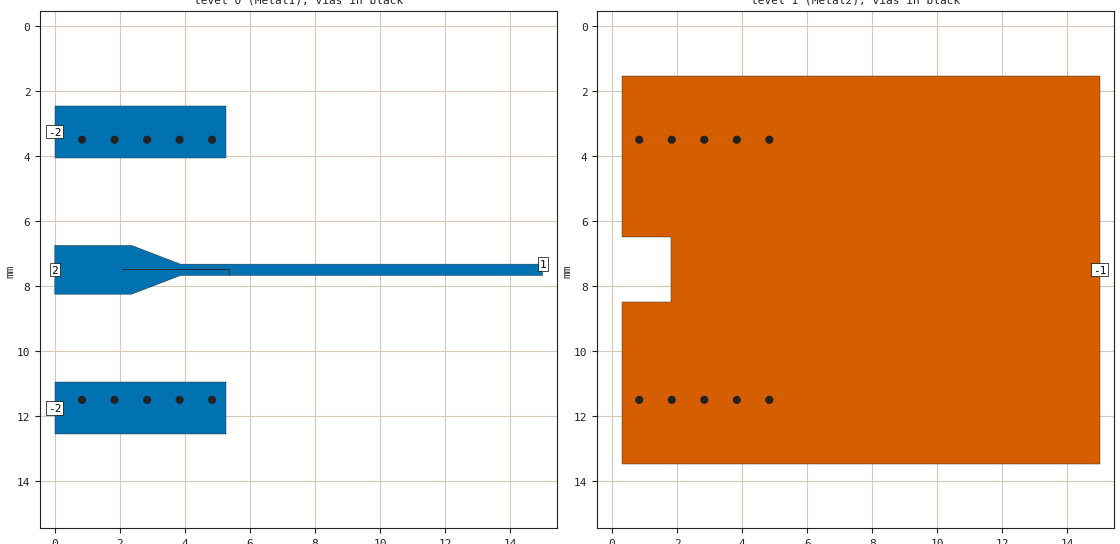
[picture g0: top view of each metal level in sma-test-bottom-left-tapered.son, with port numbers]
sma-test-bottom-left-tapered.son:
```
FTYP SONPROJ 18 ! Sonnet Project File
VER 17.56
HEADER
LIC antikernel2.1.50170 ac1f6b6437c5 havequick azonenberg Level3Gold
DAT 04/06/2021 09:38:50
BUILT_BY_CREATED dxf 17.52.2 05/01/2020 05:35:06
BUILT_BY_SAVED sonnet 17.56
MDATE 04/06/2021 09:38:26
HDATE 04/06/2021 09:38:26
ANN Created by dxfgeo, Sonnet Software Inc.
END HEADER
DIM
ANG DEG
CAP PF
CON /OH
FREQ GHZ
IND NH
LNG MM
RES OH
END DIM
CONTROL
VARSWP
OPTIONS  -dj
SPEED 1
CACHE_ABS 1
Q_ACC N
END CONTROL
GEO
SYM
TMET "Free Space" 0 FREESPACE 376.7303136 0 0 0
BMET "Free Space" 0 FREESPACE 376.7303136 0 0 0
MET "Copper 1oz thick" 2 TMM 58000000 0.5 0.035 2
MET "Nickel " 3 TMM 14300000 0.5 3.5e-05 2
MET "Copper 0.5oz" 1 NOR 58000000 0.5 0.0175 
MET "Unknown_metal" 1 NOR INF 0.5 0 
MET "Unknown_metal" 1 VOL INF 0
BRI "Alumina (96%)" 0 9.4 0.0004 0 
BRI "Alumina (99.5%)" 0 9.9 0.0001 0 
BRI "Aluminum Nitride" 0 8.6 0.0003 0 
BRI "Arlon 25FR" 0 3.58 0.0035 0 
BRI "Arlon 25N" 0 3.38 0.0025 0 
BRI "Arlon AD5" 0 5.1 0.003 0 
BRI "Arlon AD10" 0 10.2 0.005 0 
BRI "Arlon AD250" 0 2.5 0.0018 0 
BRI "Arlon AD255A" 0 2.55 0.0015 0 
BRI "Arlon AD260A" 0 2.6 0.0018 0 
BRI "Arlon AD270" 0 2.7 0.0023 0 
BRI "Arlon AD300A" 0 3 0.002 0 
BRI "Arlon AD320A" 0 3.2 0.0032 0 
BRI "Arlon AD350A" 0 3.5 0.003 0 
BRI "Arlon AD410" 0 4.1 0.003 0 
BRI "Arlon AD430" 0 4.3 0.003 0 
BRI "Arlon AD450" 0 4.5 0.0035 0 
BRI "Arlon AD600" 0 6.15 0.003 0 
BRI "Arlon AD1000" 0 10.2 0.0023 0 
BRI "Arlon AR1000" 0 9.8 0.003 0 
BRI "Arlon CLTE" 0 2.96 0.0023 0 
BRI "Arlon CLTE-AT" 0 3 0.0013 0 
BRI "Arlon CLTE-P" 0 2.94 0.0025 0 
BRI "Arlon CLTE-XT" 0 2.94 0.0012 0 
BRI "Arlon Cu 217LX" 0 2.17 0.0009 0 
BRI "Arlon Cu 233LX" 0 2.33 0.0013 0 
BRI "Arlon Cu 250GT" 0 2.5 0.001 0 
BRI "Arlon Cu 250GX" 0 2.5 0.0018 0 
BRI "Arlon Cu 6250" 0 2.32 0.0013 0 
BRI "Arlon Cu 6700" 0 2.35 0.0025 0 
BRI "Arlon Di 522" 0 2.5 0.001 0 
BRI "Arlon Di 527" 0 2.5 0.0018 0 
BRI "Arlon Di 870" 0 2.33 0.0013 0 
BRI "Arlon Di 880" 0 2.17 0.0009 0 
BRI "Arlon Iso 917" 0 2.17 0.0013 0 
BRI "Arlon Iso 933" 0 2.33 0.0016 0 
BRI "Arlon Multi HF" 0 3.7 0.004 0 
BRI "Arlon TC350" 0 3.5 0.002 0 
BRI "Arlon TC600" 0 6.15 0.002 0 
BRI "Beryllia (99.5%)" 0 6.5 0.0004 0 
BRI "CEM-1" 0 4.5 0.02 0 
BRI "CEM-3" 0 4.5 0.02 0 
BRI "Dupont 9K7" 0 7.1 0.0012 0 
BRI "Dupont 943" 0 7.4 0.002 0 
BRI "Dupont 951" 0 7.8 0.006 0 
BRI "Dupont FEP" 0 2 0.0005 0 
BRI "Dupont Vacrel" 0 3.8 0.011 0 
BRI "ESL 41010" 0 7.5 0.005 0 
BRI "ESL 41020" 0 7.25 0.005 0 
BRI "ESL 41050" 0 13.5 0.002 0 
BRI "ESL 41060" 0 16.5 0.002 0 
BRI "ESL 41110" 0 4.5 0.004 0 
BRI "Ferro A6M" 0 5.9 0.002 0 
BRI "Ferro A6S" 0 5.9 0.002 0 
BRI "Ferro L8" 0 7.3 0.0018 0 
BRI "FR-4" 0 4.4 0.02 0 
BRI "G-10" 0 4.8 0.025 0 
BRI "Gallium Arsenide" 0 12.9 0.006 0 
BRI "Gallium Nitride" 0 9.7 0 0 
BRI "Glass (Pyrex)" 0 4.82 0.0054 0 
BRI "Heraeus HL2000" 0 7.3 0.0026 0 
BRI "Isola 370HR" 0 4.04 0.021 0 
BRI "Isola FR408" 0 3.77 0.0116 0 
BRI "Isola FR408HR" 0 3.68 0.0092 0 
BRI "Isola Getek" 0 3.6 0.01 0 
BRI "Isola GI-180" 0 3.7 0.013 0 
BRI "Isola IS415" 0 3.82 0.0125 0 
BRI "Isola IS620i" 0 3.58 0.006 0 
BRI "Isola IS680-280" 0 2.8 0.0025 0 
BRI "Isola IS680-300" 0 3 0.003 0 
BRI "Isola IS680-320" 0 3.2 0.003 0 
BRI "Isola IS680-333" 0 3.33 0.003 0 
BRI "Isola IS680-338" 0 3.38 0.0032 0 
BRI "Isola IS680-345" 0 3.45 0.0036 0 
BRI "Kerafol CT800" 0 5.3 0.008 0 
BRI "Nelco MW9350" 0 3.7 0.004 0 
BRI "Nelco N4000-12" 0 3.7 0.008 0 
BRI "Nelco N4000-13" 0 3.7 0.009 0 
BRI "Nelco N4000-13SI" 0 3.2 0.007 0 
BRI "Nelco N4000-13EP" 0 3.7 0.008 0 
BRI "Nelco N4350-13RF" 0 3.5 0.0065 0 
BRI "Nelco N4380-13RF" 0 3.8 0.007 0 
BRI "Nelco N9300-13RF" 0 3 0.004 0 
BRI "Nelco N9320-13RF" 0 3.2 0.0045 0 
BRI "Nelco N9338-13RF" 0 3.38 0.0046 0 
BRI "Nelco N9350-13RF" 0 3.48 0.0055 0 
BRI "Nelco NH9294" 0 2.94 0.0022 0 
BRI "Nelco NH9300" 0 3 0.0023 0 
BRI "Nelco NH9320" 0 3.2 0.0024 0 
BRI "Nelco NH9338" 0 3.38 0.0025 0 
BRI "Nelco NH9348" 0 3.48 0.003 0 
BRI "Nelco NH9350" 0 3.5 0.003 0 
BRI "Nelco NH9410" 0 4.1 0.003 0 
BRI "Nelco NH9450" 0 4.5 0.003 0 
BRI "Nelco NX9240" 0 2.4 0.0016 0 
BRI "Nelco NX9245" 0 2.45 0.0016 0 
BRI "Nelco NX9250" 0 2.5 0.0017 0 
BRI "Nelco NX9255" 0 2.55 0.0018 0 
BRI "Nelco NX9260" 0 2.6 0.0019 0 
BRI "Nelco NY9208" 0 2.08 0.0006 0 
BRI "Nelco NY9217" 0 2.17 0.0008 0 
BRI "Nelco NY9220" 0 2.2 0.0009 0 
BRI "Nelco NY9233" 0 2.33 0.0011 0 
BRI "PET" 0 3.37 0.0208 0 
BRI "Polyimide" 0 3.5 0.003 0 
BRI "Quartz (Fused)" 0 3.78 0.0001 0 
BRI "Rogers 3001" 0 2.28 0.003 0 
BRI "Rogers RO2808" 0 7.6 0.0015 0 
BRI "Rogers RO3003" 0 3 0.0013 0 
BRI "Rogers RO3006" 0 6.5 0.002 0 
BRI "Rogers RO3010" 0 11.2 0.0022 0 
BRI "Rogers RO3035" 0 3.6 0.0018 0 
BRI "Rogers RO3203" 0 3.02 0.0016 0 
BRI "Rogers RO3206" 0 6.6 0.0027 0 
BRI "Rogers RO3210" 0 10.8 0.0027 0 
BRI "Rogers RO3730" 0 3 0.0016 0 
BRI "Rogers RO4003C" 0 3.55 0.0029 0 
BRI "Rogers RO4533" 0 3.45 0.0029 0 
BRI "Rogers RO4534" 0 3.4 0.003 0 
BRI "Rogers RO4350B" 0 3.66 0.0037 0 
BRI "Rogers RO4350BTX" 0 3.66 0.0034 0 
BRI "Rogers RO4360" 0 6.15 0.0038 0 
BRI "Rogers RO4450B-3.6" 0 3.3 0.0043 0 
BRI "Rogers RO4450B-4" 0 3.54 0.004 0 
BRI "Rogers RO4450F" 0 3.52 0.0041 0 
BRI "Rogers RO4730" 0 3 0.0033 0 
BRI "Rogers RT5870" 0 2.33 0.0012 0 
BRI "Rogers RT5880" 0 2.2 0.0009 0 
BRI "Rogers RT5880LZ" 0 1.96 0.0019 0 
BRI "Rogers RT6002" 0 2.94 0.0012 0 
BRI "Rogers RT6006" 0 6.15 0.0027 0 
BRI "Rogers RT6010LM" 0 10.9 0.0023 0 
BRI "Rogers RT6035HTC" 0 3.6 0.0013 0 
BRI "Rogers RT6202" 0 2.94 0.0015 0 
BRI "Rogers RT6202PR" 0 2.95 0.0015 0 
BRI "Rogers Syron7000" 0 3.4 0.0045 0 
BRI "Rogers Syron7100-2" 0 3.61 0.006 0 
BRI "Rogers Syron7100-4" 0 3.39 0.005 0 
BRI "Rogers Theta" 0 4.01 0.0118 0 
BRI "Rogers TMM 3" 0 3.39 0.002 0 
BRI "Rogers TMM 4" 0 4.5 0.002 0 
BRI "Rogers TMM 6" 0 6 0.0023 0 
BRI "Rogers TMM 10" 0 9.56 0.0022 0 
BRI "Rogers TMM 10i" 0 9.96 0.002 0 
BRI "Rogers UL2000" 0 2.5 0.0019 0 
BRI "Rogers UL3850" 0 3.05 0.0025 0 
BRI "Rogers UL3908" 0 2.9 0.0025 0 
BRI "Rogers XT8000" 0 3.34 0.0035 0 
BRI "Rogers XT8100-2" 0 3.54 0.0049 0 
BRI "Rogers XT8100-4" 0 3.32 0.0038 0 
BRI "Silicon (intrinsic)" 0 11.9 0.004 0.00044 
BRI "Silicon Dioxide" 0 3.9 0 0 
BRI "Silicon Nitride" 0 7.5 0 0 
BRI "Taconic CER-10" 0 10 0.0035 0 
BRI "Taconic FastFilm" 0 2.7 0.0012 0 
BRI "Taconic Fastrise-DS" 0 2.96 0.0018 0 
BRI "Taconic Fastrise27" 0 2.7 0.0014 0 
BRI "Taconic Fastrise77" 0 7.7 0.0034 0 
BRI "Taconic FEP" 0 2 0.0003 0 
BRI "Taconic RF-30" 0 3 0.0014 0 
BRI "Taconic RF-35" 0 3.5 0.0018 0 
BRI "Taconic RF-35A2" 0 3.5 0.0011 0 
BRI "Taconic RF-35P" 0 3.5 0.0025 0 
BRI "Taconic RF-41" 0 4.1 0.0038 0 
BRI "Taconic RF-43" 0 4.3 0.0033 0 
BRI "Taconic RF-45" 0 4.5 0.0037 0 
BRI "Taconic RF-60A" 0 6.15 0.0038 0 
BRI "Taconic RF-301" 0 2.97 0.0012 0 
BRI "Taconic TacBond HT" 0 2.35 0.0025 0 
BRI "Taconic TLA-6" 0 2.62 0.0012 0 
BRI "Taconic TLC-27" 0 2.75 0.003 0 
BRI "Taconic TLC-30" 0 3 0.003 0 
BRI "Taconic TLC-32" 0 3.2 0.003 0 
BRI "Taconic TLE-95" 0 2.95 0.0028 0 
BRI "Taconic TLF-34" 0 3.4 0.002 0 
BRI "Taconic TLF-35" 0 3.5 0.002 0 
BRI "Taconic TLP-3" 0 2.33 0.0009 0 
BRI "Taconic TLP-5" 0 2.2 0.0009 0 
BRI "Taconic TLP-5A" 0 2.17 0.0009 0 
BRI "Taconic TLT-0" 0 2.45 0.0006 0 
BRI "Taconic TLT-9" 0 2.5 0.0006 0 
BRI "Taconic TLT-8" 0 2.55 0.0006 0 
BRI "Taconic TLT-7" 0 2.6 0.0006 0 
BRI "Taconic TLT-6" 0 2.65 0.0006 0 
BRI "Taconic TLX-0" 0 2.45 0.0019 0 
BRI "Taconic TLX-9" 0 2.5 0.0019 0 
BRI "Taconic TLX-8" 0 2.55 0.0019 0 
BRI "Taconic TLX-7" 0 2.6 0.0019 0 
BRI "Taconic TLX-6" 0 2.65 0.0019 0 
BRI "Taconic TLY-3" 0 2.33 0.0009 0 
BRI "Taconic TLY-3F" 0 2.33 0.0009 0 
BRI "Taconic TLY-5" 0 2.2 0.0009 0 
BRI "Taconic TLY-5-L" 0 2.2 0.0009 0 
BRI "Taconic TLY-5A" 0 2.17 0.0009 0 
BRI "Taconic TLY-5A-L" 0 2.17 0.0009 0 
BRI "Taconic TPG-30" 0 3 0.0038 0 
BRI "Taconic TPG-32" 0 3.2 0.005 0 
BRI "Taconic TPG-35" 0 3.5 0.005 0 
BRI "Taconic TRF-41" 0 4.1 0.0035 0 
BRI "Taconic TRF-43" 0 4.3 0.0035 0 
BRI "Taconic TRF-45" 0 4.5 0.0035 0 
BRI "Taconic TSM-DS" 0 2.85 0.001 0 
BRI "Taconic TSM-DS3" 0 3 0.0011 0 
BRI "Taconic TSM-26" 0 2.6 0.0014 0 
BRI "Taconic TSM-29" 0 2.94 0.0013 0 
BRI "Taconic TSM-30" 0 3 0.0013 0 
BRI "Teflon (PTFE)" 0 2.08 0.0004 0 
BOX 3 15 15 1200 1200 20 0
      1 1 1 0 0 0 0 "Air"
      0.166 3.6 1 0.0092 0 0 0 "Isola FR408HR"
      1.4 3.6 1 0.0092 0 0 0 "Isola FR408HR"
      1 1 1 0 0 0 0 "Air"
TECHLAY METAL Metal1 BLACK -2 0 
0 0 0 N 923 1 1 100 100 0 0 0 Y
END
END
TECHLAY METAL Metal2 BLACK -3 0 
1 0 2 N 930 1 1 100 100 0 0 0 Y
END
END
TECHLAY VIA Via1 <UNSPECIFIED> -4 0 
VIA POLYGON
1 0 -1 N 1037 1 1 100 100 0 0 0 Y
TOLEVEL 0 RING NOCOVERS
END
END
VALVAR BOTLEN LNG 2 "Dim. Param."
VALVAR TOPLEN LNG 3 "Dim. Param."
VALVAR CUTY LNG 2 "Dim. Param."
VALVAR CUTX LNG 1.5 "Dim. Param."
LORGN 0 15 U 
POR1 BOX
POLY 4 1
0
-2 50 0 0 0 0 3.25 
POR1 BOX
POLY 1 1
0
-2 50 0 0 0 0 11.75 
POR1 BOX
POLY 1031 1
10
1 50 0 0 0 15 7.325 
POR1 BOX
POLY 1031 1
16
2 50 0 0 0 1.110223025e-16 7.5 
POR1 BOX
POLY 702 1
7
-1 50 0 0 0 15 7.5 
NUM 14
0 5 0 N 4 1 1 100 100 0 0 0 Y
TLAYNAM Metal1 INH
0 4.05
0 2.45
5.2625 2.45
5.2625 4.05
0 4.05
END
0 5 0 N 1 1 1 100 100 0 0 0 Y
TLAYNAM Metal1 INH
0 12.55
0 10.95
5.2625 10.95
5.2625 12.55
0 12.55
END
0 20 0 N 1031 1 1 100 100 0 0 0 Y
TLAYNAM Metal1 INH
3.8625 7.675
5.375 7.675
5.375 7.5
2.075 7.5
2.075 7.5
5.375 7.5
5.375 7.5
5.375 7.675
15 7.675
15 7.325
15 7.325
15 7.325
3.8625 7.325
2.3625 6.75
0 6.75
0 6.75
1.110223025e-16 6.75
1.110223025e-16 8.25
2.3625 8.25
3.8625 7.675
END
1 9 2 N 702 1 1 100 100 0 0 0 Y
TLAYNAM Metal2 INH
15 1.525
0.3125 1.525
0.3125 6.5
1.8125 6.5
1.8125 8.5
0.3125 8.5
0.3125 13.475
15 13.475
15 1.525
END
VIA POLYGON
1 53 -1 N 184 1 1 100 100 0 0 0 Y
TOLEVEL 0 RING NOCOVERS
TLAYNAM Via1 INH
1.8375 11.625
1.8135 11.623
1.8015 11.62
1.7895 11.615
1.7785 11.61
1.7685 11.604
1.7585 11.597
1.7405 11.579
1.7335 11.569
1.7275 11.559
1.7225 11.548
1.7175 11.536
1.7145 11.524
1.7125 11.5
1.7145 11.476
1.7175 11.464
1.7225 11.452
1.7275 11.441
1.7335 11.431
1.7405 11.421
1.7585 11.403
1.7685 11.396
1.7785 11.39
1.7895 11.385
1.8015 11.38
1.8135 11.377
1.8375 11.375
1.8615 11.377
1.8735 11.38
1.8855 11.385
1.8965 11.39
1.9065 11.396
1.9165 11.403
1.9345 11.421
1.9415 11.431
1.9475 11.441
1.9525 11.452
1.9575 11.464
1.9605 11.476
1.9625 11.5
1.9605 11.524
1.9575 11.536
1.9525 11.548
1.9475 11.559
1.9415 11.569
1.9345 11.579
1.9165 11.597
1.9065 11.604
1.8965 11.61
1.8855 11.615
1.8735 11.62
1.8615 11.623
1.8375 11.625
END
VIA POLYGON
1 53 -1 N 177 1 1 100 100 0 0 0 Y
TOLEVEL 0 RING NOCOVERS
TLAYNAM Via1 INH
4.8375 11.625
4.8135 11.623
4.8015 11.62
4.7895 11.615
4.7785 11.61
4.7685 11.604
4.7585 11.597
4.7405 11.579
4.7335 11.569
4.7275 11.559
4.7225 11.548
4.7175 11.536
4.7145 11.524
4.7125 11.5
4.7145 11.476
4.7175 11.464
4.7225 11.452
4.7275 11.441
4.7335 11.431
4.7405 11.421
4.7585 11.403
4.7685 11.396
4.7785 11.39
4.7895 11.385
4.8015 11.38
4.8135 11.377
4.8375 11.375
4.8615 11.377
4.8735 11.38
4.8855 11.385
4.8965 11.39
4.9065 11.396
4.9165 11.403
4.9345 11.421
4.9415 11.431
4.9475 11.441
4.9525 11.452
4.9575 11.464
4.9605 11.476
4.9625 11.5
4.9605 11.524
4.9575 11.536
4.9525 11.548
4.9475 11.559
4.9415 11.569
4.9345 11.579
4.9165 11.597
4.9065 11.604
4.8965 11.61
4.8855 11.615
4.8735 11.62
4.8615 11.623
4.8375 11.625
END
VIA POLYGON
1 53 -1 N 186 1 1 100 100 0 0 0 Y
TOLEVEL 0 RING NOCOVERS
TLAYNAM Via1 INH
3.8375 11.625
3.8135 11.623
3.8015 11.62
3.7895 11.615
3.7785 11.61
3.7685 11.604
3.7585 11.597
3.7405 11.579
3.7335 11.569
3.7275 11.559
3.7225 11.548
3.7175 11.536
3.7145 11.524
3.7125 11.5
3.7145 11.476
3.7175 11.464
3.7225 11.452
3.7275 11.441
3.7335 11.431
3.7405 11.421
3.7585 11.403
3.7685 11.396
3.7785 11.39
3.7895 11.385
3.8015 11.38
3.8135 11.377
3.8375 11.375
3.8615 11.377
3.8735 11.38
3.8855 11.385
3.8965 11.39
3.9065 11.396
3.9165 11.403
3.9345 11.421
3.9415 11.431
3.9475 11.441
3.9525 11.452
3.9575 11.464
3.9605 11.476
3.9625 11.5
3.9605 11.524
3.9575 11.536
3.9525 11.548
3.9475 11.559
3.9415 11.569
3.9345 11.579
3.9165 11.597
3.9065 11.604
3.8965 11.61
3.8855 11.615
3.8735 11.62
3.8615 11.623
3.8375 11.625
END
VIA POLYGON
1 53 -1 N 182 1 1 100 100 0 0 0 Y
TOLEVEL 0 RING NOCOVERS
TLAYNAM Via1 INH
4.8375 3.625
4.8135 3.623
4.8015 3.62
4.7895 3.615
4.7785 3.61
4.7685 3.604
4.7585 3.597
4.7405 3.579
4.7335 3.569
4.7275 3.559
4.7225 3.548
4.7175 3.536
4.7145 3.524
4.7125 3.5
4.7145 3.476
4.7175 3.464
4.7225 3.452
4.7275 3.441
4.7335 3.431
4.7405 3.421
4.7585 3.403
4.7685 3.396
4.7785 3.39
4.7895 3.385
4.8015 3.38
4.8135 3.377
4.8375 3.375
4.8615 3.377
4.8735 3.38
4.8855 3.385
4.8965 3.39
4.9065 3.396
4.9165 3.403
4.9345 3.421
4.9415 3.431
4.9475 3.441
4.9525 3.452
4.9575 3.464
4.9605 3.476
4.9625 3.5
4.9605 3.524
4.9575 3.536
4.9525 3.548
4.9475 3.559
4.9415 3.569
4.9345 3.579
4.9165 3.597
4.9065 3.604
4.8965 3.61
4.8855 3.615
4.8735 3.62
4.8615 3.623
4.8375 3.625
END
VIA POLYGON
1 53 -1 N 180 1 1 100 100 0 0 0 Y
TOLEVEL 0 RING NOCOVERS
TLAYNAM Via1 INH
2.8375 3.625
2.8135 3.623
2.8015 3.62
2.7895 3.615
2.7785 3.61
2.7685 3.604
2.7585 3.597
2.7405 3.579
2.7335 3.569
2.7275 3.559
2.7225 3.548
2.7175 3.536
2.7145 3.524
2.7125 3.5
2.7145 3.476
2.7175 3.464
2.7225 3.452
2.7275 3.441
2.7335 3.431
2.7405 3.421
2.7585 3.403
2.7685 3.396
2.7785 3.39
2.7895 3.385
2.8015 3.38
2.8135 3.377
2.8375 3.375
2.8615 3.377
2.8735 3.38
2.8855 3.385
2.8965 3.39
2.9065 3.396
2.9165 3.403
2.9345 3.421
2.9415 3.431
2.9475 3.441
2.9525 3.452
2.9575 3.464
2.9605 3.476
2.9625 3.5
2.9605 3.524
2.9575 3.536
2.9525 3.548
2.9475 3.559
2.9415 3.569
2.9345 3.579
2.9165 3.597
2.9065 3.604
2.8965 3.61
2.8855 3.615
2.8735 3.62
2.8615 3.623
2.8375 3.625
END
VIA POLYGON
1 53 -1 N 185 1 1 100 100 0 0 0 Y
TOLEVEL 0 RING NOCOVERS
TLAYNAM Via1 INH
2.8375 11.625
2.8135 11.623
2.8015 11.62
2.7895 11.615
2.7785 11.61
2.7685 11.604
2.7585 11.597
2.7405 11.579
2.7335 11.569
2.7275 11.559
2.7225 11.548
2.7175 11.536
2.7145 11.524
2.7125 11.5
2.7145 11.476
2.7175 11.464
2.7225 11.452
2.7275 11.441
2.7335 11.431
2.7405 11.421
2.7585 11.403
2.7685 11.396
2.7785 11.39
2.7895 11.385
2.8015 11.38
2.8135 11.377
2.8375 11.375
2.8615 11.377
2.8735 11.38
2.8855 11.385
2.8965 11.39
2.9065 11.396
2.9165 11.403
2.9345 11.421
2.9415 11.431
2.9475 11.441
2.9525 11.452
2.9575 11.464
2.9605 11.476
2.9625 11.5
2.9605 11.524
2.9575 11.536
2.9525 11.548
2.9475 11.559
2.9415 11.569
2.9345 11.579
2.9165 11.597
2.9065 11.604
2.8965 11.61
2.8855 11.615
2.8735 11.62
2.8615 11.623
2.8375 11.625
END
VIA POLYGON
1 53 -1 N 178 1 1 100 100 0 0 0 Y
TOLEVEL 0 RING NOCOVERS
TLAYNAM Via1 INH
0.8375 3.625
0.8135 3.623
0.8015 3.62
0.7895 3.615
0.7785 3.61
0.7685 3.604
0.7585 3.597
0.7405 3.579
0.7335 3.569
0.7275 3.559
0.7225 3.548
0.7175 3.536
0.7145 3.524
0.7125 3.5
0.7145 3.476
0.7175 3.464
0.7225 3.452
0.7275 3.441
0.7335 3.431
0.7405 3.421
0.7585 3.403
0.7685 3.396
0.7785 3.39
0.7895 3.385
0.8015 3.38
0.8135 3.377
0.8375 3.375
0.8615 3.377
0.8735 3.38
0.8855 3.385
0.8965 3.39
0.9065 3.396
0.9165 3.403
0.9345 3.421
0.9415 3.431
0.9475 3.441
0.9525 3.452
0.9575 3.464
0.9605 3.476
0.9625 3.5
0.9605 3.524
0.9575 3.536
0.9525 3.548
0.9475 3.559
0.9415 3.569
0.9345 3.579
0.9165 3.597
0.9065 3.604
0.8965 3.61
0.8855 3.615
0.8735 3.62
0.8615 3.623
0.8375 3.625
END
VIA POLYGON
1 53 -1 N 181 1 1 100 100 0 0 0 Y
TOLEVEL 0 RING NOCOVERS
TLAYNAM Via1 INH
3.8375 3.625
3.8135 3.623
3.8015 3.62
3.7895 3.615
3.7785 3.61
3.7685 3.604
3.7585 3.597
3.7405 3.579
3.7335 3.569
3.7275 3.559
3.7225 3.548
3.7175 3.536
3.7145 3.524
3.7125 3.5
3.7145 3.476
3.7175 3.464
3.7225 3.452
3.7275 3.441
3.7335 3.431
3.7405 3.421
3.7585 3.403
3.7685 3.396
3.7785 3.39
3.7895 3.385
3.8015 3.38
3.8135 3.377
3.8375 3.375
3.8615 3.377
3.8735 3.38
3.8855 3.385
3.8965 3.39
3.9065 3.396
3.9165 3.403
3.9345 3.421
3.9415 3.431
3.9475 3.441
3.9525 3.452
3.9575 3.464
3.9605 3.476
3.9625 3.5
3.9605 3.524
3.9575 3.536
3.9525 3.548
3.9475 3.559
3.9415 3.569
3.9345 3.579
3.9165 3.597
3.9065 3.604
3.8965 3.61
3.8855 3.615
3.8735 3.62
3.8615 3.623
3.8375 3.625
END
VIA POLYGON
1 53 -1 N 179 1 1 100 100 0 0 0 Y
TOLEVEL 0 RING NOCOVERS
TLAYNAM Via1 INH
1.8375 3.625
1.8135 3.623
1.8015 3.62
1.7895 3.615
1.7785 3.61
1.7685 3.604
1.7585 3.597
1.7405 3.579
1.7335 3.569
1.7275 3.559
1.7225 3.548
1.7175 3.536
1.7145 3.524
1.7125 3.5
1.7145 3.476
1.7175 3.464
1.7225 3.452
1.7275 3.441
1.7335 3.431
1.7405 3.421
1.7585 3.403
1.7685 3.396
1.7785 3.39
1.7895 3.385
1.8015 3.38
1.8135 3.377
1.8375 3.375
1.8615 3.377
1.8735 3.38
1.8855 3.385
1.8965 3.39
1.9065 3.396
1.9165 3.403
1.9345 3.421
1.9415 3.431
1.9475 3.441
1.9525 3.452
1.9575 3.464
1.9605 3.476
1.9625 3.5
1.9605 3.524
1.9575 3.536
1.9525 3.548
1.9475 3.559
1.9415 3.569
1.9345 3.579
1.9165 3.597
1.9065 3.604
1.8965 3.61
1.8855 3.615
1.8735 3.62
1.8615 3.623
1.8375 3.625
END
VIA POLYGON
1 53 -1 N 183 1 1 100 100 0 0 0 Y
TOLEVEL 0 RING NOCOVERS
TLAYNAM Via1 INH
0.8375 11.625
0.8135 11.623
0.8015 11.62
0.7895 11.615
0.7785 11.61
0.7685 11.604
0.7585 11.597
0.7405 11.579
0.7335 11.569
0.7275 11.559
0.7225 11.548
0.7175 11.536
0.7145 11.524
0.7125 11.5
0.7145 11.476
0.7175 11.464
0.7225 11.452
0.7275 11.441
0.7335 11.431
0.7405 11.421
0.7585 11.403
0.7685 11.396
0.7785 11.39
0.7895 11.385
0.8015 11.38
0.8135 11.377
0.8375 11.375
0.8615 11.377
0.8735 11.38
0.8855 11.385
0.8965 11.39
0.9065 11.396
0.9165 11.403
0.9345 11.421
0.9415 11.431
0.9475 11.441
0.9525 11.452
0.9575 11.464
0.9605 11.476
0.9625 11.5
0.9605 11.524
0.9575 11.536
0.9525 11.548
0.9475 11.559
0.9415 11.569
0.9345 11.579
0.9165 11.597
0.9065 11.604
0.8965 11.61
0.8855 11.615
0.8735 11.62
0.8615 11.623
0.8375 11.625
END
END GEO
OPT
MAX 100
END OPT
VARSWP
SWPVARS ON
ENABLED Y
FREQ Y AY ABS_ENTRY 0.01 16.0 -1 300 
VAR CUTY Y 1.0 2.0 0.5
VAR CUTX Y 1.5 3.5 0.5
END
END VARSWP
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```
